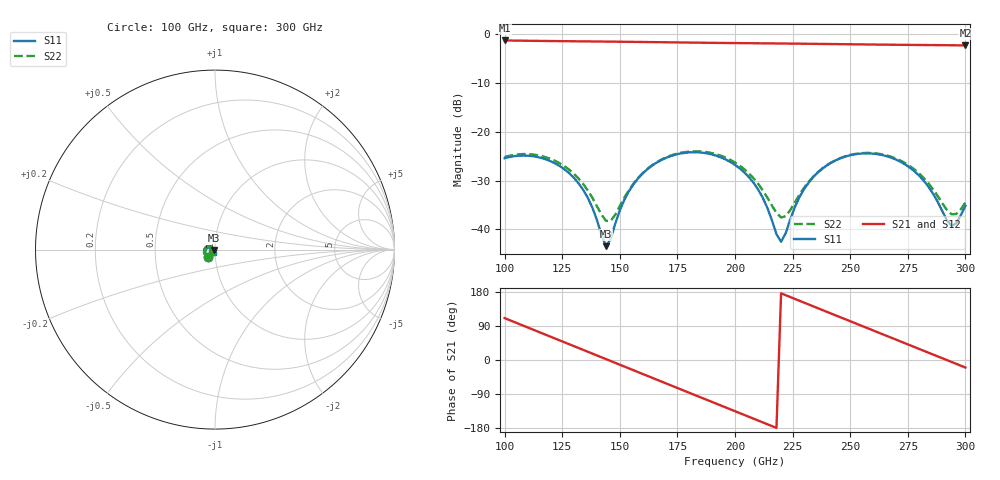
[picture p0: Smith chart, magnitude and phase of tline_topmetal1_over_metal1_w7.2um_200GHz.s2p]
#  GHZ S DB R 50
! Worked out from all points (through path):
!   101 points, 100 GHz to 300 GHz, reference 50 ohm
!   highest |S21| = -1.24 dB at 100 GHz (marker M1); lowest = -2.3 dB at 300 GHz (marker M2)
!   group delay of S21, straight-line fit = 6.81 ps
!   lowest |S11| = -43.4 dB at 144 GHz (marker M3), VSWR 1.01, Z = 49.4 - j0.184 ohm
!   |S11| at or under -10 dB: start of sweep to end of sweep
!   |S22| runs from -38.3 to -24.0 dB; largest |S21 - S12| = 1.4e-14
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100  -25.38 -134.2  -1.24 110.6  -1.24 110.6  -25.14 -132.1
108  -24.84 -153.3  -1.29 90.9  -1.29 90.9  -24.53 -150.3
116  -25.34 -172.1  -1.34 71.2  -1.34 71.2  -24.94 -168.0
126  -27.67 165.8  -1.39 46.6  -1.39 46.6  -27.04 172.1
134  -31.79 152.2  -1.43 27.0  -1.43 27.0  -30.61 161.7
138  -35.41 150.6  -1.44 17.1  -1.44 17.1  -33.43 162.5
144  -43.42 -164.0  -1.47 2.4  -1.47 2.4  -38.22 -168.4
146  -42.02 -129.8  -1.48 -2.5  -1.48 -2.5  -38.26 -149.0
154  -32.11 -107.0  -1.52 -22.2  -1.52 -22.2  -31.89 -117.2
168  -25.75 -132.1  -1.60 -56.7  -1.60 -56.7  -25.68 -134.4
184  -24.18 -167.5  -1.69 -95.9  -1.69 -95.9  -23.98 -166.4
200  -26.75 158.3  -1.77 -135.1  -1.77 -135.1  -26.27 162.9
210  -31.77 142.6  -1.82 -159.6  -1.82 -159.6  -30.61 151.4
220  -42.52 -166.2  -1.86 175.9  -1.86 175.9  -37.53 -174.1
228  -33.35 -116.5  -1.90 156.3  -1.90 156.3  -32.83 -130.9
234  -29.24 -122.4  -1.93 141.5  -1.93 141.5  -29.14 -131.0
244  -25.75 -140.9  -1.99 117.0  -1.99 117.0  -25.72 -145.3
252  -24.58 -157.5  -2.03 97.5  -2.03 97.5  -24.52 -160.1
268  -25.30 169.5  -2.11 58.4  -2.11 58.4  -25.12 169.5
282  -30.03 147.0  -2.17 24.2  -2.17 24.2  -29.48 149.7
294  -39.26 -175.6  -2.22 -5.2  -2.22 -5.2  -36.89 180.0
300  -35.14 -131.8  -2.25 -19.9  -2.25 -19.9  -34.45 -142.8
